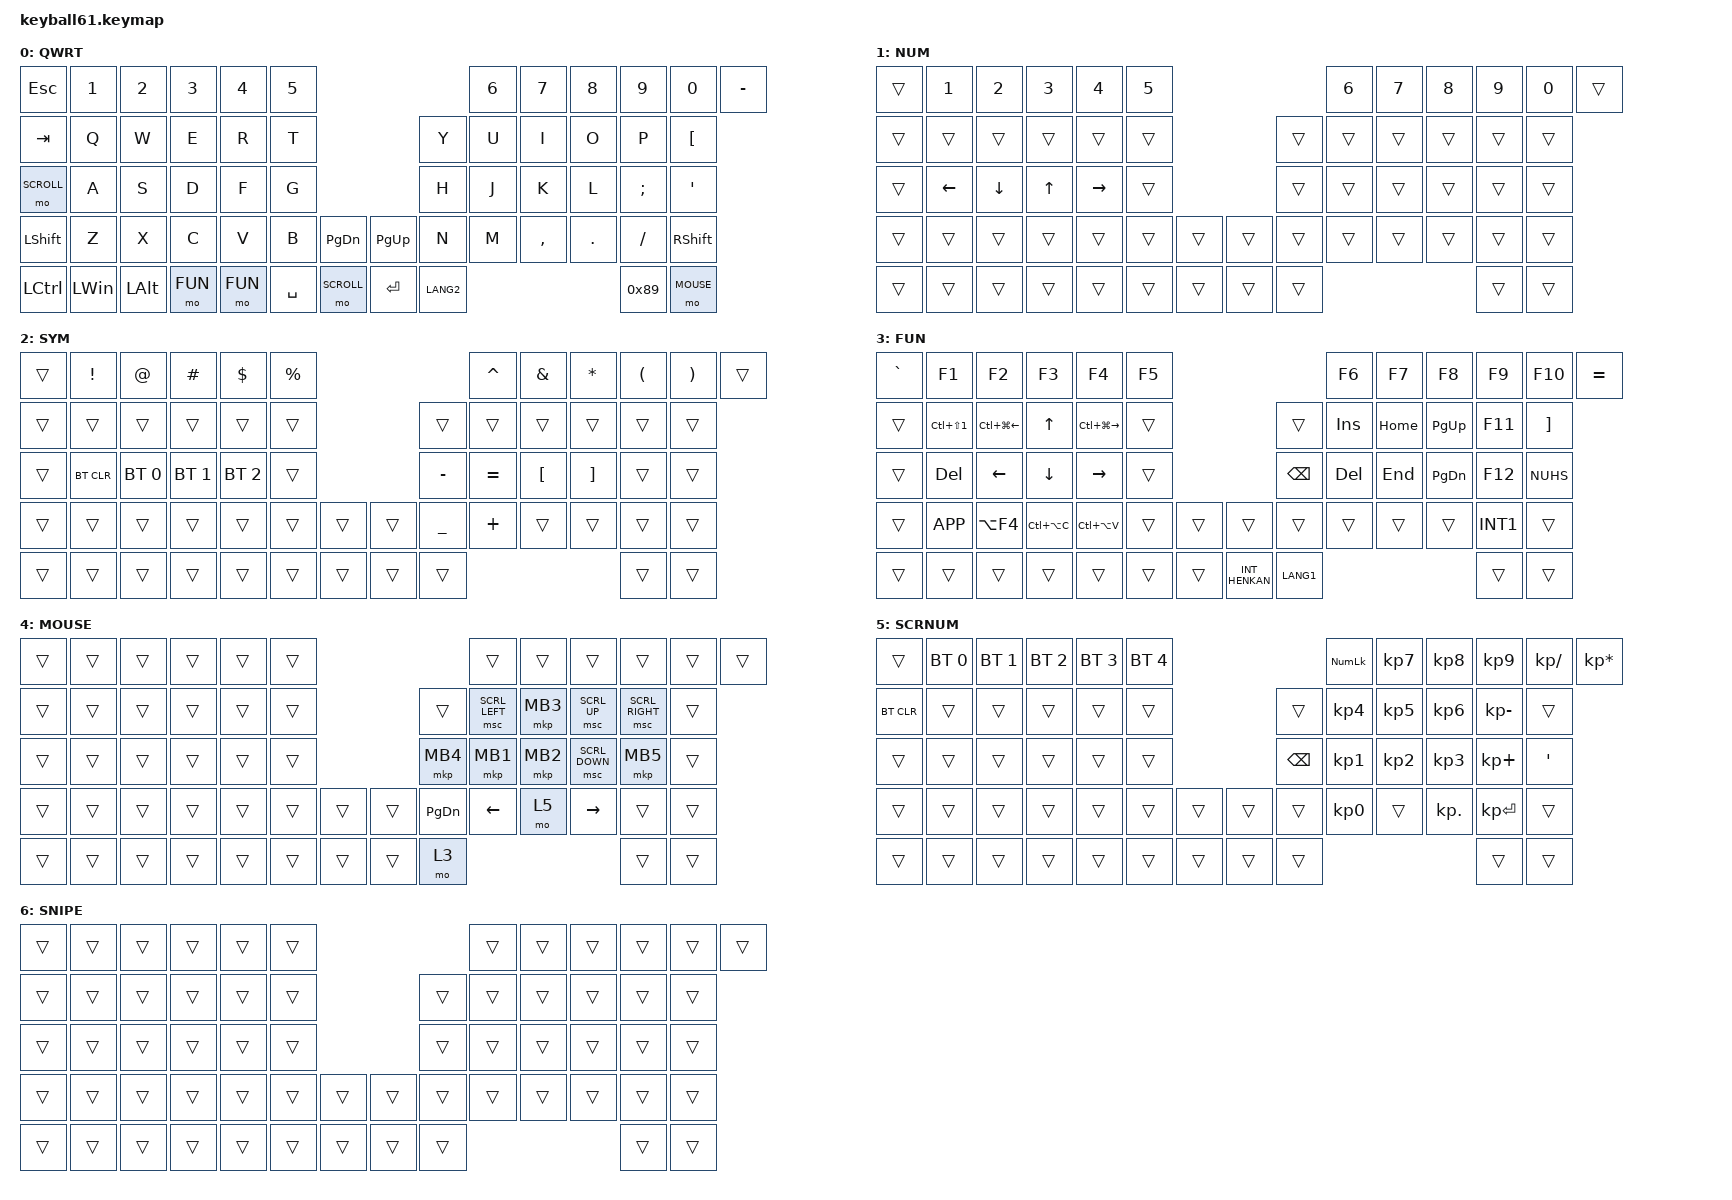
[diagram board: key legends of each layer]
#define DEFAULT 0
#define SYM     1
#define FUN     3
#define MOUSE   4
#define SCROLL  5
#define SNIPE   6

#include <behaviors/mouse_keys.dtsi>
#include <behaviors.dtsi>
#include <dt-bindings/zmk/bt.h>
#include <dt-bindings/zmk/keys.h>
#include <dt-bindings/zmk/mouse.h>

&lt {
    tapping-term-ms = <240>;
    flavor = "balanced";
    quick-tap-ms = <150>;
};

&mt {
    tapping-term-ms = <200>;
    flavor = "tap-preferred";
    quick-tap-ms = <150>;
};

/ {
    keymap {
        compatible = "zmk,keymap";

        default_layer {
            label = "QWRT";
            bindings = <
&kp ESC    &kp N1   &kp N2    &kp N3         &kp N4  &kp N5                                   &kp N6     &kp N7  &kp N8     &kp N9   &kp N0   &kp MINUS   
&kp TAB    &kp Q    &kp W     &kp E   &kp R   &kp T                                 &kp Y      &kp U   &kp I      &kp O    &kp P    &kp LBKT
&mo SCROLL &kp A    &kp S     &kp D   &kp F   &kp G                                 &kp H      &kp J   &kp K      &kp L    &kp SEMI &kp SQT
&kp LSHFT  &kp Z    &kp X     &kp C   &kp V   &kp B     &kp PAGE_DOWN  &kp PAGE_UP  &kp N      &kp M   &kp COMMA  &kp DOT  &kp FSLH &kp RIGHT_SHIFT
&kp LCTRL  &kp LWIN &kp LALT  &mo FUN &mo FUN &kp SPACE &mo SCROLL     &kp ENTER    &kp LANG2                              &kp 0x89 &mo MOUSE
            >;
        };

        number_layer {
            bindings = <
&trans  &kp N1    &kp N2    &kp N3  &kp N4     &kp N5                  &kp N6  &kp N7  &kp N8  &kp N9  &kp N0  &trans
&trans  &trans    &trans    &trans  &trans     &trans                  &trans  &trans  &trans  &trans  &trans  &trans
&trans  &kp LEFT  &kp DOWN  &kp UP  &kp RIGHT  &trans                  &trans  &trans  &trans  &trans  &trans  &trans
&trans  &trans    &trans    &trans  &trans     &trans  &trans  &trans  &trans  &trans  &trans  &trans  &trans  &trans
&trans  &trans    &trans    &trans  &trans     &trans  &trans  &trans  &trans                          &trans  &trans
            >;

            label = "NUM";
        };

        symbol_layer {
            label = "SYM";
            bindings = <
&trans  &kp EXCLAMATION  &kp AT_SIGN   &kp HASH      &kp DOLLAR    &kp PERCENT                  &kp CARET       &kp AMPERSAND  &kp ASTERISK      &kp LEFT_PARENTHESIS  &kp RIGHT_PARENTHESIS  &trans
&trans  &trans           &trans        &trans        &trans        &trans                       &trans          &trans         &trans            &trans                &trans                 &trans
&trans  &bt BT_CLR       &bt BT_SEL 0  &bt BT_SEL 1  &bt BT_SEL 2  &trans                       &kp MINUS       &kp EQUAL      &kp LEFT_BRACKET  &kp RIGHT_BRACKET     &trans                 &trans
&trans  &trans           &trans        &trans        &trans        &trans       &trans  &trans  &kp UNDERSCORE  &kp PLUS       &trans            &trans                &trans                 &trans
&trans  &trans           &trans        &trans        &trans        &trans       &trans  &trans  &trans                                                                 &trans                 &trans
            >;
        };

        function_layer {
            label = "FUN";
            bindings = <
&kp GRAVE &kp F1         &kp F2           &kp F3        &kp F4            &kp F5                         &kp F6   &kp F7  &kp F8   &kp F9    &kp F10  &kp EQUAL
&trans    &kp LC(LS(N1)) &kp LC(LG(LEFT)) &kp UP        &kp LC(LG(RIGHT)) &trans                         &trans   &kp INS &kp HOME &kp PG_UP &kp F11  &kp RBKT
&trans    &kp DEL        &kp LEFT         &kp DOWN      &kp RIGHT         &trans                         &kp BSPC &kp DEL &kp END  &kp PG_DN &kp F12  &kp NUHS
&trans    &kp K_APP      &kp LA(F4)       &kp LC(LA(C)) &kp LC(LA(V))     &trans  &trans  &trans         &trans   &trans  &trans   &trans    &kp INT1 &trans
&trans    &trans         &trans           &trans        &trans            &trans  &trans  &kp INT_HENKAN &kp LANG1                           &trans   &trans
            >;
        };

        mouse_layer {
            label = "MOUSE";
            bindings = <
&trans  &trans    &trans    &trans  &trans     &trans                  &trans         &trans         &trans    &trans         &trans          &trans
&trans  &trans    &trans    &trans  &trans     &trans                  &trans         &msc SCRL_LEFT &mkp MB3  &msc SCRL_UP   &msc SCRL_RIGHT &trans
&trans  &trans    &trans    &trans  &trans     &trans                  &mkp MB4       &mkp MB1       &mkp MB2  &msc SCRL_DOWN &mkp MB5        &trans
&trans  &trans    &trans    &trans  &trans     &trans  &trans  &trans  &kp PAGE_DOWN  &kp LEFT       &mo 5     &kp RIGHT      &trans          &trans
&trans  &trans    &trans    &trans  &trans     &trans  &trans  &trans  &mo 3                                                  &trans          &trans
            >;
        };

        scroll_layer {
            label = "SCRNUM";
            bindings = <
&trans       &bt BT_SEL 0 &bt BT_SEL 1 &bt BT_SEL 2 &bt BT_SEL 3 &bt BT_SEL 4            &kp KP_NUM &kp KP_N7 &kp KP_N8 &kp KP_N9  &kp KP_SLASH &kp KP_ASTERISK
&bt BT_CLR   &trans       &trans       &trans       &trans       &trans                  &trans     &kp KP_N4 &kp KP_N5 &kp KP_N6  &kp KP_MINUS &trans
&trans       &trans       &trans       &trans       &trans       &trans                  &kp BSPC   &kp KP_N1 &kp KP_N2 &kp KP_N3  &kp KP_PLUS  &kp SQT
&trans       &trans       &trans       &trans       &trans       &trans  &trans  &trans  &trans     &kp KP_N0 &trans    &kp KP_DOT &kp KP_ENTER &trans
&trans       &trans       &trans       &trans       &trans       &trans  &trans  &trans  &trans                                    &trans       &trans
            >;
        };

        snipe_layer {
            label = "SNIPE";
            bindings = <
&trans  &trans  &trans  &trans  &trans  &trans                  &trans  &trans  &trans  &trans  &trans  &trans
&trans  &trans  &trans  &trans  &trans  &trans                  &trans  &trans  &trans  &trans  &trans  &trans
&trans  &trans  &trans  &trans  &trans  &trans                  &trans  &trans  &trans  &trans  &trans  &trans
&trans  &trans  &trans  &trans  &trans  &trans  &trans  &trans  &trans  &trans  &trans  &trans  &trans  &trans
&trans  &trans  &trans  &trans  &trans  &trans  &trans  &trans  &trans                          &trans  &trans
            >;
        };
    };
};
